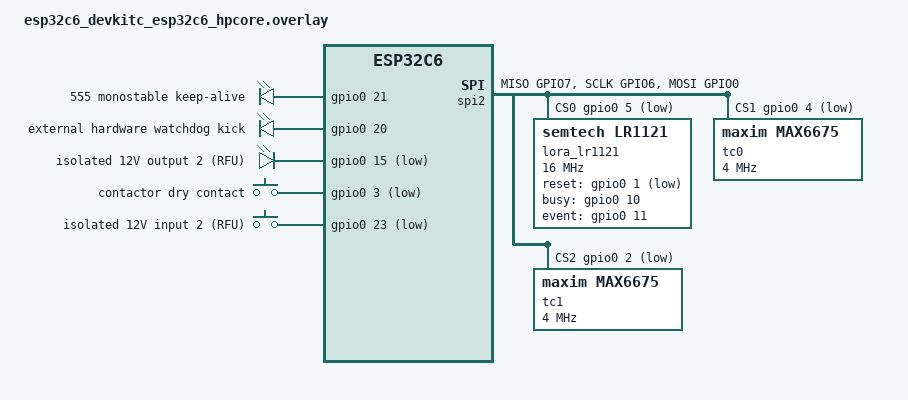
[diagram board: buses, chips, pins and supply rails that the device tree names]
/*
 * Copyright (c) 2025 Semtech Corporation
 * Copyright (c) 2026 Guilherme Luiz Moritz
 *
 * SPDX-License-Identifier: Apache-2.0
 *
 * Board overlay: ESP32-C6-DevKitC (interim host) + Waveshare Core1121-XF (LR1121).
 *
 * GPIO assignments follow the DUAL-SOCKET CARRIER pin map: the carrier accepts
 * EITHER an ESP32-C6 mini OR a WeAct BlackPill F411CE in overlapped, nested
 * 2.54 mm socket rows, so every net must land on both. The C6 row sits 3.81 mm
 * outboard of its BlackPill partner row and is offset 5 pitches in Y, which makes
 * each shared net a single straight stub between two adjacent pads.
 *
 * The pin choice is therefore a ROUTING result, not a preference. See README.md
 * ("Carrier pin map") for the derivation. Constraints honoured here:
 *   - GPIO12/13 are native USB (USB-Serial-JTAG)   -> never used
 *   - GPIO8 is strapping AND drives the module's onboard addressable RGB LED
 *     -> left unrouted on the carrier, so the LED stays usable
 *   - GPIO9 is strapping (boot mode)               -> dead pair, unused
 *   - GPIO15 selects the JTAG source and is sampled at reset -> carries an
 *     active-low OUTPUT only (OPTO_OUT2), never an input
 *   - GPIO4-7 are the pin-JTAG group, usable as GPIO only because GPIO15 stays
 *     high at reset (we debug over USB-JTAG)
 *   - GPIO16 is the ROM UART TX -> output-only on the carrier
 *   - the C6 GPIO matrix lets SPI2 land anywhere, so the STM32's fixed
 *     alternate-function pins are the anchor and the C6 bends to match
 *
 * Derived from usp_zephyr boards/shields/semtech_lr11xxmb1xxs. The large
 * tx-power / rssi / current tables further down are the LR1121-MB1 reference
 * values kept as a STARTING POINT; they are BOM-specific and must be
 * recalibrated for the Core1121-XF for correct RF performance.
 */

#include <zephyr/dt-bindings/usp/lr11xx.h>
#include <zephyr/dt-bindings/pinctrl/esp32c6-pinctrl.h>
#include <zephyr/dt-bindings/input/input-event-codes.h>

/* LoRaWAN credentials (DevEUI / JoinEUI / AppKey / region) live here. */
#include "user_keys.overlay"

/ {
	chosen {
		zephyr,lorawan-transceiver = &lora_lr1121;
	};
	aliases {
		lora-transceiver = &lora_lr1121;
		tc0 = &tc0;
		tc1 = &tc1;
		keepalive-out = &keepalive_out;
		hw-wdt-out = &hw_wdt_out;
		opto-out2 = &opto_out2;
		opto-in1 = &opto_in1;
		opto-in2 = &opto_in2;
	};

	/*
	 * Failsafe / watchdog pulse outputs.
	 *
	 * These MUST be toggled from software (NOT hardware PWM/LEDC): the whole
	 * point is that the pulses STOP when the firmware hangs. LEDC would keep
	 * running autonomously through a CPU hang and defeat the failsafe.
	 *   - keepalive_out retriggers an external 555 monostable that gates the
	 *     power circuit; stop toggling -> 555 times out -> power shuts down.
	 *   - hw_wdt_out kicks an external hardware watchdog.
	 * Gate both on an application-liveness flag, not a bare kernel timer (the
	 * kernel keeps ticking even if the app thread is deadlocked). Both pins are
	 * Hi-Z at reset until firmware drives them, so size the external timeouts to
	 * survive boot. (gpio-leds is reused only as a generic GPIO-output binding.)
	 */
	failsafe_outputs {
		compatible = "gpio-leds";
		keepalive_out: keepalive {
			gpios = <&gpio0 21 GPIO_ACTIVE_HIGH>;   /* D21, carrier b13-right (BlackPill PA1) */
			label = "555 monostable keep-alive";
		};
		hw_wdt_out: hw-wdt {
			gpios = <&gpio0 20 GPIO_ACTIVE_HIGH>;   /* D20, carrier b14-right (BlackPill PA0) */
			label = "external hardware watchdog kick";
		};
	};

	/*
	 * Isolated 12 V field I/O. Screw terminals are open-drain (optocoupler
	 * transistor) outputs and dry-contact inputs. OUT1 is hw_wdt_out above.
	 *
	 * OUT2 sits on D15, which selects the ESP32-C6 JTAG source and is sampled at
	 * reset. It is driven ACTIVE LOW into the opto (3V3 - R - LED - pin) with an
	 * external 10k pull-up, so Hi-Z at reset = pin high = strap satisfied AND
	 * output inactive. Never make D15 an input: a field contact pulling it low at
	 * reset switches JTAG onto GPIO4-7, which would seize TC1_CS/NSS/SCK/MISO.
	 */
	opto_outputs {
		compatible = "gpio-leds";
		opto_out2: out2 {
			gpios = <&gpio0 15 GPIO_ACTIVE_LOW>;    /* D15, carrier b10-right (BlackPill PA4) */
			label = "isolated 12V output 2 (RFU)";
		};
	};

	/*
	 * Both inputs are ACTIVE LOW with external pull-ups: a failed or unpowered
	 * optocoupler reads as asserted, so a welded contactor fails toward the alarm
	 * state rather than being missed.
	 *
	 * IN2 is on GPIO23, a clean GPIO. It moved off GPIO17 when the console went
	 * back to the ROM UART pair (GPIO16/17); its BlackPill end stays PA5, so the
	 * net is now a diagonal (b9-right -> b11-right) instead of a stub.
	 */
	opto_inputs {
		compatible = "gpio-keys";
		opto_in1: in1 {
			gpios = <&gpio0 3 (GPIO_ACTIVE_LOW | GPIO_PULL_UP)>;    /* D3,  b7-right (PA7) */
			label = "contactor dry contact";
			zephyr,code = <INPUT_KEY_0>;
		};
		opto_in2: in2 {
			gpios = <&gpio0 23 (GPIO_ACTIVE_LOW | GPIO_PULL_UP)>;   /* D23, b11-right pad -> PA5 */
			label = "isolated 12V input 2 (RFU)";
			zephyr,code = <INPUT_KEY_1>;
		};
	};
};

/*
 * Shared SPI bus: SCLK=GPIO6, MISO=GPIO7, MOSI=GPIO0.
 *
 * These face BlackPill PB3/PB4/PB5 (= SPI1 alternate mapping) at carrier rows
 * b10/b11/b12, so all three bus signals are consecutive straight stubs. Every
 * chip select is a GPIO (cs-gpios), so CSEL is deliberately absent from pinctrl.
 */
&pinctrl {
	spim2_lora: spim2_lora {
		group1 {
			pinmux = <SPIM2_MISO_GPIO7>,
				 <SPIM2_SCLK_GPIO6>;
		};
		group2 {
			pinmux = <SPIM2_MOSI_GPIO0>;
			output-low;
		};
	};
};

/*
 * uart0 is deliberately NOT remapped: it keeps the board default TX=GPIO16 /
 * RX=GPIO17, which is also where the ROM serial-download console lives. The
 * bootloader log and the Zephyr console therefore come out of the same two
 * carrier pads (module pads 27/26) and one FTDI hookup covers both.
 *
 * The BlackPill end of that net is USART2 (PA2/PA3, rows b12/b11), which cannot
 * move - so the UART is two diagonals in the channel rather than two stubs. Both
 * ends are through-hole, so they can drop to the bottom layer at the pad with no
 * vias.
 */

/* i2c0 shares GPIO6/GPIO7 with spi2; disable it so the LoRa SPI bus owns them. */
&i2c0 {
	status = "disabled";
};

/* Not used by the LoRaWAN node; disabled to cut footprint and pin conflicts. */
&wifi {
	status = "disabled";
};
&esp32_bt_hci {
	status = "disabled";
};
&ieee802154 {
	status = "disabled";
};

&spi2 {
	status = "okay";
	pinctrl-0 = <&spim2_lora>;
	pinctrl-names = "default";

	/*
	 * One CS per device on the shared bus, indexed by each child's `reg`.
	 * Neither thermocouple sits on a strapping pin. D8 is deliberately NOT used
	 * here: it is left unrouted on the carrier so the module's onboard
	 * addressable RGB LED stays usable (it needs exclusive ~800 kHz timing).
	 */
	cs-gpios = <&gpio0 5 GPIO_ACTIVE_LOW>,    /* reg 0: LR1121 NSS  (D5, b9-left)  */
		   <&gpio0 4 GPIO_ACTIVE_LOW>,    /* reg 1: MAX6675 #1  (D4, b8-left)  */
		   <&gpio0 2 GPIO_ACTIVE_LOW>;    /* reg 2: MAX6675 #2  (D2, b6-right) */

	lora_lr1121: lora@0 {
		compatible = "semtech,lr1121";
		reg = <0>;
		spi-max-frequency = <DT_FREQ_M(16)>;

		/* ---- Control pins, carrier rows b13/b15/b16 ----
		 * BUSY and DIO9 are driven by the LR1121, so both are kept OFF the
		 * strapping pins (D8/D9/D15). NRESET is a host output and idles high.
		 */
		reset-gpios = <&gpio0 1 GPIO_ACTIVE_LOW>;                        /* D1,  b13 (PB6) */
		busy-gpios  = <&gpio0 10 GPIO_ACTIVE_HIGH>;                      /* D10, b15 (PB8) */
		event-gpios = <&gpio0 11 (GPIO_ACTIVE_HIGH | GPIO_PULL_DOWN)>;   /* D11, b16 (PB9) = DIO9 */
		/* LR1121 DIO7 / DIO8 are broken out on the Core1121 header but unused. */

		/* TODO: confirm against Core1121 R3/R4 population (HP only vs LP+HP). */
		lf-tx-path = <LR11XX_TX_PATH_LF_LP_HP>;

		lf-clk = <LR11XX_LFCLK_XTAL>;      /* 32.768 kHz XTAL (Y2) on DIO10/DIO11 */
		reg-mode = <LR11XX_REG_MODE_DCDC>; /* DC-DC (L6 on DCC_SW) */

		/*
		 * Core1121-XF RF switch: one PE4259 selecting the LF (sub-GHz) vs HF
		 * (2.4 GHz / L-band) antenna path, driven by LR1121 DIO5 and DIO6.
		 * Sub-GHz -> DIO6 high; HF / GNSS / WiFi-scan -> DIO5 high.
		 */
		rf-sw-enable     = <(LR11XX_DIO5 | LR11XX_DIO6)>;
		rf-sw-rx-mode    = <LR11XX_DIO6>;
		rf-sw-tx-mode    = <LR11XX_DIO6>;
		rf-sw-tx-hp-mode = <LR11XX_DIO6>;
		rf-sw-tx-hf-mode = <LR11XX_DIO5>;
		rf-sw-wifi-mode  = <LR11XX_DIO5>;
		rf-sw-gnss-mode  = <LR11XX_DIO5>;

		/* Core1121 uses a 32 MHz TCXO on XTA powered by VTCXO (Y1). */
		tcxo-voltage = <LR11XX_TCXO_SUPPLY_1_8V>; /* TODO: confirm TCXO supply voltage */
		tcxo-wakeup-time = <5>;                   /* ms; TODO: confirm from TCXO datasheet */

		tx-power-cfg-lf-lp =
		/* power, pa_duty_cycle, pa_hp_sel */
		<(-15) 0x00 0x00>, /* Expected output power = -17dBm */
		<(-14) 0x00 0x00>, /* Expected output power = -16dBm */
		<(-13) 0x00 0x00>, /* Expected output power = -15dBm */
		<(-12) 0x00 0x00>, /* Expected output power = -14dBm */
		<(-11) 0x00 0x00>, /* Expected output power = -13dBm */
		<(-9) 0x00 0x00>, /* Expected output power = -12dBm */
		<(-8) 0x00 0x00>, /* Expected output power = -11dBm */
		<(-7) 0x00 0x00>, /* Expected output power = -10dBm */
		<(-6) 0x00 0x00>, /* Expected output power = -9dBm */
		<(-5) 0x00 0x00>, /* Expected output power = -8dBm */
		<(-4) 0x00 0x00>, /* Expected output power = -7dBm */
		<(-3) 0x00 0x00>, /* Expected output power = -6dBm */
		<(-2) 0x00 0x00>, /* Expected output power = -5dBm */
		<(-1) 0x00 0x00>, /* Expected output power = -4dBm */
		<( 0) 0x00 0x00>, /* Expected output power = -3dBm */
		<( 1) 0x00 0x00>, /* Expected output power = -2dBm */
		<( 2) 0x00 0x00>, /* Expected output power = -1dBm */
		<( 3) 0x00 0x00>, /* Expected output power = 0dBm */
		<( 3) 0x01 0x00>, /* Expected output power = 1dBm */
		<( 4) 0x01 0x00>, /* Expected output power = 2dBm */
		<( 7) 0x00 0x00>, /* Expected output power = 3dBm */
		<( 8) 0x00 0x00>, /* Expected output power = 4dBm */
		<( 9) 0x00 0x00>, /* Expected output power = 5dBm */
		<( 10) 0x00 0x00>, /* Expected output power = 6dBm */
		<( 12) 0x00 0x00>, /* Expected output power = 7dBm */
		<( 13) 0x00 0x00>, /* Expected output power = 8dBm */
		<( 14) 0x00 0x00>, /* Expected output power = 9dBm */
		<( 13) 0x01 0x00>, /* Expected output power = 10dBm */
		<( 13) 0x02 0x00>, /* Expected output power = 11dBm */
		<( 14) 0x02 0x00>, /* Expected output power = 12dBm */
		<( 14) 0x03 0x00>, /* Expected output power = 13dBm */
		<( 14) 0x04 0x00>, /* Expected output power = 14dBm */
		<( 14) 0x07 0x00>; /* Expected output power = 15dBm */

		tx-power-cfg-lf-hp =
		/* power, pa_duty_cycle, pa_hp_sel */
		<(  9) 0x00 0x00>, /* Expected output power = -9dBm */
		<( 10) 0x00 0x00>, /* Expected output power = -8dBm */
		<( 11) 0x00 0x00>, /* Expected output power = -7dBm */
		<( 12) 0x00 0x00>, /* Expected output power = -6dBm */
		<( 13) 0x00 0x00>, /* Expected output power = -5dBm */
		<( 13) 0x01 0x00>, /* Expected output power = -4dBm */
		<( 13) 0x02 0x00>, /* Expected output power = -3dBm */
		<( 17) 0x02 0x00>, /* Expected output power = -2dBm */
		<( 14) 0x04 0x00>, /* Expected output power = -1dBm */
		<( 12) 0x00 0x01>, /* Expected output power = 0dBm */
		<( 13) 0x00 0x01>, /* Expected output power = 1dBm */
		<( 13) 0x01 0x01>, /* Expected output power = 2dBm */
		<( 13) 0x02 0x01>, /* Expected output power = 3dBm */
		<( 15) 0x00 0x02>, /* Expected output power = 4dBm */
		<( 15) 0x04 0x01>, /* Expected output power = 5dBm */
		<( 14) 0x02 0x02>, /* Expected output power = 6dBm */
		<( 14) 0x01 0x03>, /* Expected output power = 7dBm */
		<( 17) 0x04 0x02>, /* Expected output power = 8dBm */
		<( 22) 0x00 0x01>, /* Expected output power = 9dBm */
		<( 22) 0x01 0x01>, /* Expected output power = 10dBm */
		<( 22) 0x02 0x01>, /* Expected output power = 11dBm */
		<( 22) 0x03 0x01>, /* Expected output power = 12dBm */
		<( 22) 0x00 0x03>, /* Expected output power = 13dBm */
		<( 22) 0x01 0x03>, /* Expected output power = 14dBm */
		<( 22) 0x04 0x02>, /* Expected output power = 15dBm */
		<( 22) 0x01 0x04>, /* Expected output power = 16dBm */
		<( 22) 0x02 0x04>, /* Expected output power = 17dBm */
		<( 22) 0x01 0x06>, /* Expected output power = 18dBm */
		<( 22) 0x03 0x05>, /* Expected output power = 19dBm */
		<( 22) 0x03 0x07>, /* Expected output power = 20dBm */
		<( 22) 0x04 0x06>, /* Expected output power = 21dBm */
		<( 22) 0x04 0x07>; /* Expected output power = 22dBm */

		tx-power-cfg-hf =
		/* power, pa_duty_cycle, pa_hp_sel */
		<(-18) 0x04 0x00>, //Expected output power = -18dBm
		<(-18) 0x04 0x00>, /* Expected output power = -17dBm */
		<(-17) 0x04 0x00>, /* Expected output power = -16dBm */
		<(-16) 0x04 0x00>, /* Expected output power = -15dBm */
		<(-15) 0x04 0x00>, /* Expected output power = -14dBm */
		<(-14) 0x04 0x00>, /* Expected output power = -13dBm */
		<(-14) 0x04 0x00>, /* Expected output power = -12dBm */
		<(-12) 0x04 0x00>, /* Expected output power = -11dBm */
		<(-10) 0x04 0x00>, /* Expected output power = -10dBm */
		<( -9) 0x04 0x00>, /* Expected output power = -9dBm */
		<( -8) 0x04 0x00>, /* Expected output power = -8dBm */
		<( -7) 0x04 0x00>, /* Expected output power = -7dBm */
		<( -6) 0x04 0x00>, /* Expected output power = -6dBm */
		<( -5) 0x04 0x00>, /* Expected output power = -5dBm */
		<( -4) 0x04 0x00>, /* Expected output power = -4dBm */
		<( -3) 0x04 0x00>, /* Expected output power = -3dBm */
		<( -2) 0x03 0x00>, /* Expected output power = -2dBm */
		<( -1) 0x04 0x00>, /* Expected output power = -1dBm */
		<(  0) 0x04 0x00>, /* Expected output power = 0dBm */
		<(  1) 0x00 0x00>, /* Expected output power = 1dBm */
		<(  2) 0x00 0x00>, /* Expected output power = 2dBm */
		<(  4) 0x04 0x00>, /* Expected output power = 3dBm */
		<(  5) 0x04 0x00>, /* Expected output power = 4dBm */
		<(  6) 0x04 0x00>, /* Expected output power = 5dBm */
		<(  7) 0x04 0x00>, /* Expected output power = 6dBm */
		<(  8) 0x04 0x00>, /* Expected output power = 7dBm */
		<(  9) 0x04 0x00>, /* Expected output power = 8dBm */
		<( 10) 0x04 0x00>, /* Expected output power = 9dBm */
		<( 11) 0x04 0x00>, /* Expected output power = 10dBm */
		<( 12) 0x03 0x00>, /* Expected output power = 11dBm */
		<( 13) 0x04 0x00>, /* Expected output power = 12dBm */
		<( 13) 0x00 0x00>; /* Expected output power = 13dBm */


		/* Tune is G4 G5 G6 G7 G8 G9 G10 G11 G12 G13
		 * G13hp1 G13hp2 G13hp3 G13hp4 G13hp5 G13hp6 G13hp7
		 */
		rssi-calibration-lf-offset = <0>;
		rssi-calibration-lf-tune = <12 12 14 0 1 3 4 4 3 6 6 6 6 6 6 6 6>;

		rssi-calibration-mf-offset = <0>;
		rssi-calibration-mf-tune = <2 2 2 3 3 4 5 4 4 6 5 5 6 6 6 7 6>;

		rssi-calibration-hf-offset = <2030>;
		rssi-calibration-hf-tune = <6 7 6 4 3 4 14 12 14 12 12 12 12 8 8 9 9>;

		// Current consumptions
		tx-dbm-to-ua-reg-mode-dcdc-lf-lp-vreg = <
		10820 /* -17 dBm */
		10980 /* -16 dBm */
		11060 /* -15 dBm */
		11160 /* -14 dBm */
		11300 /* -13 dBm */
		11430 /* -12 dBm */
		11550 /* -11 dBm */
		11680 /* -10 dBm */
		11930 /*  -9 dBm */
		12170 /*  -8 dBm */
		12420 /* -7 dBm */
		12650 /* -6 dBm */
		12900 /* -5 dBm */
		13280 /* -4 dBm */
		13600 /* -3 dBm */
		14120 /* -2 dBm */
		14600 /* -1 dBm */
		15090 /*  0 dBm */
		15780 /*  1 dBm */
		16490 /*  2 dBm */
		17250 /*  3 dBm */
		17850 /*  4 dBm */
		18720 /*  5 dBm */
		19640 /*  6 dBm */
		20560 /*  7 dBm */
		21400 /*  8 dBm */
		22620 /*  9 dBm */
		23720 /* 10 dBm */
		25050 /* 11 dBm */
		26350 /* 12 dBm */
		27870 /* 13 dBm */
		28590 /* 14 dBm */
		37820 /* 15 dBm */
		>;

		tx-dbm-to-ua-reg-mode-ldo-lf-lp-vreg = <
		14950 /* -17 dBm */
		15280 /* -16 dBm */
		15530 /* -15 dBm */
		15770 /* -14 dBm */
		16020 /* -13 dBm */
		16290 /* -12 dBm */
		16550 /* -11 dBm */
		16760 /* -10 dBm */
		17280 /*  -9 dBm */
		17770 /*  -8 dBm */
		18250 /* -7 dBm */
		18750 /* -6 dBm */
		19250 /* -5 dBm */
		19960 /* -4 dBm */
		20710 /* -3 dBm */
		21620 /* -2 dBm */
		22570 /* -1 dBm */
		23570 /*  0 dBm */
		24990 /*  1 dBm */
		26320 /*  2 dBm */
		27830 /*  3 dBm */
		29070 /*  4 dBm */
		30660 /*  5 dBm */
		32490 /*  6 dBm */
		34220 /*  7 dBm */
		35820 /*  8 dBm */
		38180 /*  9 dBm */
		40220 /* 10 dBm */
		42800 /* 11 dBm */
		45030 /* 12 dBm */
		47900 /* 13 dBm */
		51220 /* 14 dBm */
		66060 /* 15 dBm */
		>;

		tx-dbm-to-ua-reg-mode-dcdc-lf-hp-vbat = <
		27750  /*  -9 dBm */
		29100  /*  -8 dBm */
		30320  /*  -7 dBm */
		31650  /*  -6 dBm */
		34250  /*  -5 dBm */
		35550  /*  -4 dBm */
		36770  /*  -3 dBm */
		39250  /*  -2 dBm */
		41480  /*  -1 dBm */
		43820  /*   0 dBm */
		46000  /*  1 dBm */
		49020  /*  2 dBm */
		50900  /*  3 dBm */
		54200  /*  4 dBm */
		56330  /*  5 dBm */
		59050  /*  6 dBm */
		62210  /*  7 dBm */
		65270  /*  8 dBm */
		68600  /*  9 dBm */
		71920  /* 10 dBm */
		75500  /* 11 dBm */
		79500  /* 12 dBm */
		84130  /* 13 dBm */
		88470  /* 14 dBm */
		92200  /* 15 dBm */
		94340  /* 16 dBm */
		96360  /* 17 dBm */
		98970  /* 18 dBm */
		102220 /* 19 dBm */
		106250 /* 20 dBm */
		111300 /* 21 dBm */
		113040 /* 22 dBm */
		>;

		tx-dbm-to-ua-reg-mode-ldo-lf-hp-vbat = <
		31310  /*  -9 dBm */
		32700  /*  -8 dBm */
		33970  /*  -7 dBm */
		35270  /*  -6 dBm */
		37900  /*  -5 dBm */
		39140  /*  -4 dBm */
		40380  /*  -3 dBm */
		42860  /*  -2 dBm */
		45150  /*  -1 dBm */
		47400  /*   0 dBm */
		49600  /*  1 dBm */
		52600  /*  2 dBm */
		54460  /*  3 dBm */
		57690  /*  4 dBm */
		59840  /*  5 dBm */
		62550  /*  6 dBm */
		65750  /*  7 dBm */
		68520  /*  8 dBm */
		72130  /*  9 dBm */
		75230  /* 10 dBm */
		78600  /* 11 dBm */
		82770  /* 12 dBm */
		87450  /* 13 dBm */
		91700  /* 14 dBm */
		95330  /* 15 dBm */
		97520  /* 16 dBm */
		99520  /* 17 dBm */
		102080 /* 18 dBm */
		105140 /* 19 dBm */
		109300 /* 20 dBm */
		114460 /* 21 dBm */
		116530 /* 22 dBm */
		>;

		tx-dbm-to-ua-reg-mode-dcdc-hf-vreg = <
		11800 /* -18 dBm */
		11800 /* -17 dBm */
		11800 /* -16 dBm */
		11900 /* -15 dBm */
		12020 /* -14 dBm */
		12120 /* -13 dBm */
		12230 /* -12 dBm */
		12390 /* -11 dBm */
		12540 /* -10 dBm */
		12740 /*  -9 dBm */
		12960 /* -8 dBm */
		13150 /* -7 dBm */
		13460 /* -6 dBm */
		13770 /* -5 dBm */
		14070 /* -4 dBm */
		14460 /* -3 dBm */
		15030 /* -2 dBm */
		15440 /* -1 dBm */
		16030 /*  0 dBm */
		16980 /*  1 dBm */
		17590 /*  2 dBm */
		18270 /*  3 dBm */
		19060 /*  4 dBm */
		19900 /*  5 dBm */
		20740 /*  6 dBm */
		21610 /*  7 dBm */
		22400 /*  8 dBm */
		23370 /*  9 dBm */
		24860 /* 10 dBm */
		26410 /* 11 dBm */
		26430 /* 12 dBm */
		27890 /* 13 dBm */
		>;
	};

	/*
	 * Two MAX6675 K-type thermocouple-to-digital converters sharing this bus.
	 * Read-only devices: SCK + SO(MISO) + CS only (no MOSI); SO tri-states when
	 * deselected, so they coexist with the LR1121. Max SCK ~4.3 MHz.
	 */
	tc0: max6675@1 {
		compatible = "maxim,max6675";
		reg = <1>;                          /* CS index 1 -> D19 */
		spi-max-frequency = <DT_FREQ_M(4)>;
	};

	tc1: max6675@2 {
		compatible = "maxim,max6675";
		reg = <2>;                          /* CS index 2 -> D20 */
		spi-max-frequency = <DT_FREQ_M(4)>;
	};
};
